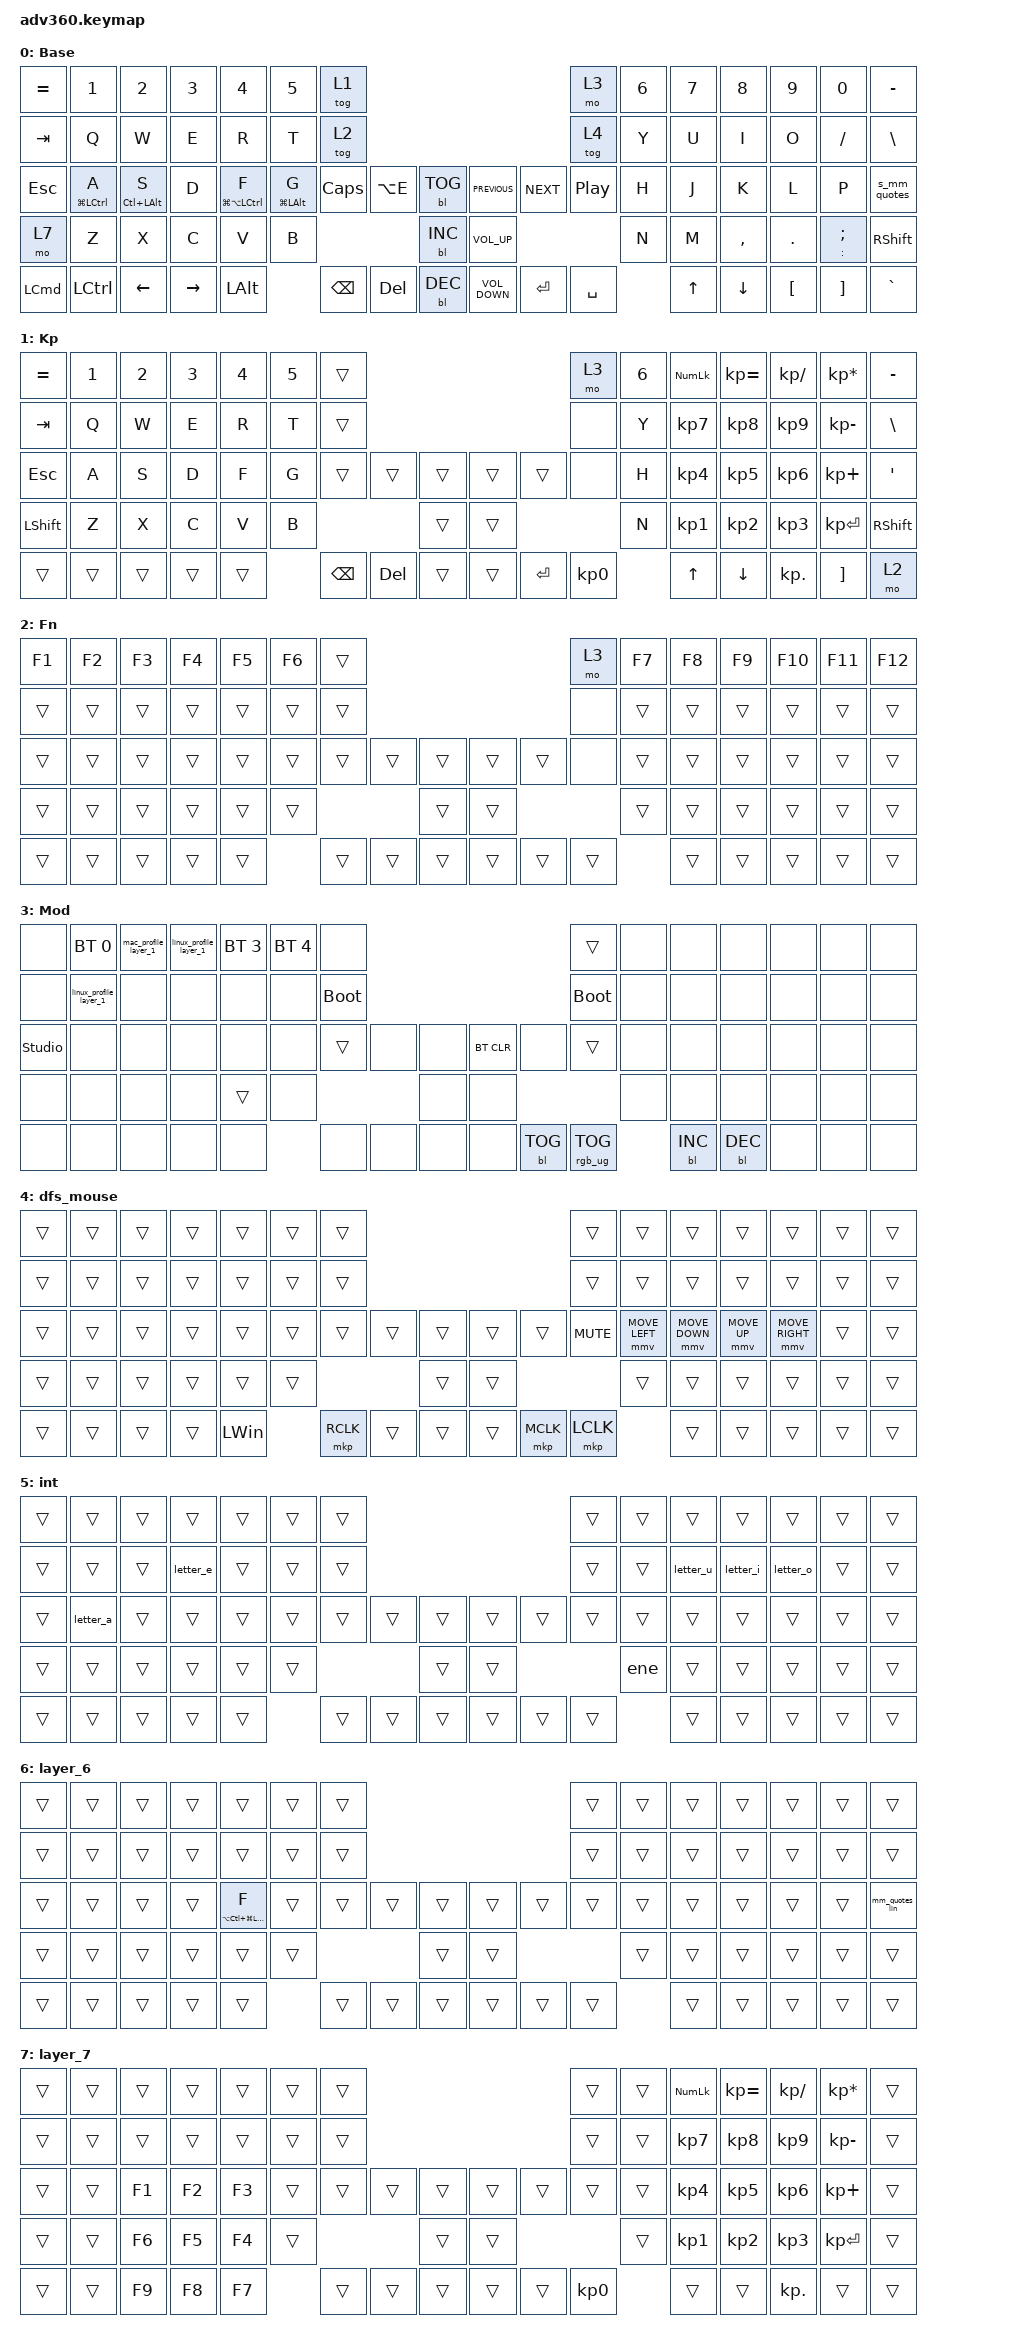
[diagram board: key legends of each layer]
#include <dt-bindings/zmk/stp.h>
#include <behaviors.dtsi>
#include <dt-bindings/zmk/backlight.h>
#include <dt-bindings/zmk/bt.h>
#include <dt-bindings/zmk/keys.h>
#include <dt-bindings/zmk/pointing.h>
#include <dt-bindings/zmk/rgb.h>

/ {
    behaviors {
        #include "macros.dtsi"
      #include "version.dtsi"

        hm: homerow_mods {
            compatible = "zmk,behavior-hold-tap";
            label = "HOMEROW_MODS";
            #binding-cells = <2>;
            tapping-term-ms = <200>;
            quick_tap_ms = <175>;
            flavor = "tap-preferred";
            bindings = <&kp>, <&kp>;
        };

        to_ly: to_ly {
            compatible = "zmk,behavior-hold-tap";
            label = "TO_LY";
            bindings = <&mo>, <&kp>;

            #binding-cells = <2>;
            tapping-term-ms = <150>;
        };

        s_mm_quotes: s_mm_quotes {
            compatible = "zmk,behavior-mod-morph";
            label = "S_MM_QUOTES";
            bindings = <&to_ly 5 DOUBLE_QUOTES>, <&kp SQT>;

            #binding-cells = <0>;
            mods = <(MOD_LSFT|MOD_RSFT)>;
        };

        b_e_letter: b_e_letter {
            compatible = "zmk,behavior-mod-morph";
            label = "B_E_LETTER";
            bindings = <&kp E>, <&kp LS(E)>;

            #binding-cells = <0>;
            mods = <(MOD_LSFT|MOD_RSFT)>;
        };

        b_a_letter: b_a_letter {
            compatible = "zmk,behavior-mod-morph";
            label = "B_A_LETTER";
            bindings = <&kp A>, <&kp LS(A)>;

            #binding-cells = <0>;
            mods = <(MOD_LSFT|MOD_RSFT)>;
        };

        b_i_letter: b_i_letter {
            compatible = "zmk,behavior-mod-morph";
            label = "B_I_LETTER";
            bindings = <&kp I>, <&kp LS(I)>;

            #binding-cells = <0>;
            mods = <(MOD_LSFT|MOD_RSFT)>;
        };

        b_o_letter: b_o_letter {
            compatible = "zmk,behavior-mod-morph";
            label = "B_O_LETTER";
            bindings = <&kp O>, <&kp LS(O)>;

            #binding-cells = <0>;
            mods = <(MOD_LSFT|MOD_RSFT)>;
        };

        b_u_letter: b_u_letter {
            compatible = "zmk,behavior-mod-morph";
            label = "B_U_LETTER";
            bindings = <&kp U>, <&kp LS(U)>;

            #binding-cells = <0>;
            mods = <(MOD_LSFT|MOD_RSFT)>;
        };

        mm_quotes_lin: mm_quotes_lin {
            compatible = "zmk,behavior-mod-morph";
            label = "MM_QUOTES_LIN";
            bindings = <&mt RIGHT_ALT DOUBLE_QUOTES>, <&kp SQT>;

            #binding-cells = <0>;
            mods = <(MOD_LSFT|MOD_RSFT)>;
        };
    };

    combos { compatible = "zmk,combos"; };

    macros {
        ene: ene {
            compatible = "zmk,behavior-macro";
            #binding-cells = <0>;
            bindings =
                <&macro_press>,
                <&kp LA(N)>,
                <&macro_tap>,
                <&kp N>,
                <&macro_release>;

            label = "ENE";
        };

        letter_i: letter_i {
            compatible = "zmk,behavior-macro";
            #binding-cells = <0>;
            bindings =
                <&macro_press>,
                <&kp LA(E)>,
                <&macro_tap>,
                <&b_i_letter>,
                <&macro_release>;

            label = "LETTER_I";
        };

        letter_a: letter_a {
            compatible = "zmk,behavior-macro";
            #binding-cells = <0>;
            bindings =
                <&macro_press>,
                <&kp LA(E)>,
                <&macro_tap>,
                <&b_a_letter>,
                <&macro_release>;

            label = "LETTER_A";
        };

        letter_e: letter_e {
            compatible = "zmk,behavior-macro";
            #binding-cells = <0>;
            bindings =
                <&macro_press>,
                <&kp LA(E)>,
                <&macro_tap>,
                <&b_e_letter>,
                <&macro_release>;

            label = "LETTER_E";
        };

        letter_o: letter_o {
            compatible = "zmk,behavior-macro";
            #binding-cells = <0>;
            bindings =
                <&macro_press>,
                <&kp LA(E)>,
                <&macro_tap>,
                <&b_o_letter>,
                <&macro_release>;

            label = "LETTER_O";
        };

        letter_u: letter_u {
            compatible = "zmk,behavior-macro";
            #binding-cells = <0>;
            bindings =
                <&macro_press>,
                <&kp LA(E)>,
                <&macro_tap>,
                <&b_u_letter>,
                <&macro_release>;

            label = "LETTER_U";
        };

        apost: apost {
            compatible = "zmk,behavior-macro";
            #binding-cells = <0>;
            bindings =
                <&macro_press>,
                <&kp SQT>,
                <&macro_tap>,
                <&kp U>,
                <&macro_release>;

            label = "APOST";
        };

        linux_profile_layer_1: linux_profile_layer_1 {
            compatible = "zmk,behavior-macro";
            #binding-cells = <0>;
            bindings =
                <&macro_press>,
                <&bt BT_SEL 2>,
                <&macro_tap>,
                <&to 6>,
                <&macro_release>;

            label = "LINUX_PROFILE_LAYER_1";
        };

        mac_profile_layer_1: mac_profile_layer_1 {
            compatible = "zmk,behavior-macro";
            #binding-cells = <0>;
            bindings =
                <&macro_press>,
                <&bt BT_SEL 1>,
                <&macro_tap>,
                <&to 0>,
                <&macro_release>;

            label = "MAC_PROFILE_LAYER_1";
        };
    };

    keymap {
        compatible = "zmk,keymap";

        default_layer {
            display-name = "Base";
            bindings = <
&kp EQUAL         &kp N1           &kp N2              &kp N3     &kp N4                      &kp N5              &tog 1                                                                  &mo 3             &kp N6  &kp N7  &kp N8     &kp N9    &kp N0          &kp MINUS
&kp TAB           &kp Q            &kp W               &kp E      &kp R                       &kp T               &tog 2                                                                  &tog 4            &kp Y   &kp U   &kp I      &kp O     &kp FSLH        &kp BSLH
&kp ESC           &hm LG(LCTRL) A  &hm LC(LEFT_ALT) S  &kp D      &hm LG(LA(LEFT_CONTROL)) F  &hm LG(LEFT_ALT) G  &kp CAPSLOCK  &kp LA(E)  &bl BL_TOG      &kp C_PREVIOUS     &kp C_NEXT  &kp C_PLAY_PAUSE  &kp H   &kp J   &kp K      &kp L     &kp P           &s_mm_quotes
&mo 7             &kp Z            &kp X               &kp C      &kp V                       &kp B                                        &bl BL_INC      &kp C_VOLUME_UP                                  &kp N   &kp M   &kp COMMA  &kp DOT   &hm COLON SEMI  &kp RSHFT
&kp LEFT_COMMAND  &kp LCTRL        &kp LEFT_ARROW      &kp RIGHT  &kp LEFT_ALT                                    &kp BSPC      &kp DEL    &bl BL_DEC      &kp C_VOLUME_DOWN  &kp ENTER   &kp SPACE                 &kp UP  &kp DOWN   &kp LBKT  &kp RBKT        &kp GRAVE
            >;
        };

        keypad {
            display-name = "Kp";
            bindings = <
&kp EQUAL  &kp N1  &kp N2  &kp N3  &kp N4  &kp N5  &trans                                            &mo 3      &kp N6  &kp KP_NUM  &kp KP_EQUAL  &kp KP_DIVIDE  &kp KP_MULTIPLY  &kp MINUS
&kp TAB    &kp Q   &kp W   &kp E   &kp R   &kp T   &trans                                            &none      &kp Y   &kp KP_N7   &kp KP_N8     &kp KP_N9      &kp KP_MINUS     &kp BSLH
&kp ESC    &kp A   &kp S   &kp D   &kp F   &kp G   &trans    &trans   &trans      &trans  &trans     &none      &kp H   &kp KP_N4   &kp KP_N5     &kp KP_N6      &kp KP_PLUS      &kp SQT
&kp LSHFT  &kp Z   &kp X   &kp C   &kp V   &kp B                      &trans      &trans                        &kp N   &kp KP_N1   &kp KP_N2     &kp KP_N3      &kp KP_ENTER     &kp RSHFT
&trans     &trans  &trans  &trans  &trans          &kp BSPC  &kp DEL  &trans      &trans  &kp ENTER  &kp KP_N0          &kp UP      &kp DOWN      &kp KP_DOT     &kp RBKT         &mo 2
            >;
        };

        fn {
            display-name = "Fn";
            bindings = <
&kp F1  &kp F2  &kp F3  &kp F4  &kp F5  &kp F6  &trans                                      &mo 3   &kp F7  &kp F8  &kp F9  &kp F10  &kp F11  &kp F12
&trans  &trans  &trans  &trans  &trans  &trans  &trans                                      &none   &trans  &trans  &trans  &trans   &trans   &trans
&trans  &trans  &trans  &trans  &trans  &trans  &trans  &trans  &trans      &trans  &trans  &none   &trans  &trans  &trans  &trans   &trans   &trans
&trans  &trans  &trans  &trans  &trans  &trans                  &trans      &trans                  &trans  &trans  &trans  &trans   &trans   &trans
&trans  &trans  &trans  &trans  &trans          &trans  &trans  &trans      &trans  &trans  &trans          &trans  &trans  &trans   &trans   &trans
            >;
        };

        mod {
            display-name = "Mod";
            bindings = <
&none           &bt BT_SEL 0            &mac_profile_layer_1  &linux_profile_layer_1  &bt BT_SEL 3  &bt BT_SEL 4  &none                                                  &trans           &none  &none       &none       &none  &none  &none
&none           &linux_profile_layer_1  &none                 &none                   &none         &none         &bootloader                                            &bootloader      &none  &none       &none       &none  &none  &none
&studio_unlock  &none                   &none                 &none                   &none         &none         &trans       &none  &none      &bt BT_CLR  &none       &trans           &none  &none       &none       &none  &none  &none
&none           &none                   &none                 &none                   &trans        &none                             &none      &none                                    &none  &none       &none       &none  &none  &none
&none           &none                   &none                 &none                   &none                       &none        &none  &none      &none       &bl BL_TOG  &rgb_ug RGB_TOG         &bl BL_INC  &bl BL_DEC  &none  &none  &none
            >;
        };

        dfs_mouse {
            bindings = <
&trans  &trans  &trans  &trans  &trans        &trans  &trans                                            &trans      &trans          &trans          &trans        &trans           &trans  &trans
&trans  &trans  &trans  &trans  &trans        &trans  &trans                                            &trans      &trans          &trans          &trans        &trans           &trans  &trans
&trans  &trans  &trans  &trans  &trans        &trans  &trans     &trans  &trans      &trans  &trans     &kp C_MUTE  &mmv MOVE_LEFT  &mmv MOVE_DOWN  &mmv MOVE_UP  &mmv MOVE_RIGHT  &trans  &trans
&trans  &trans  &trans  &trans  &trans        &trans                     &trans      &trans                         &trans          &trans          &trans        &trans           &trans  &trans
&trans  &trans  &trans  &trans  &kp LEFT_WIN          &mkp RCLK  &trans  &trans      &trans  &mkp MCLK  &mkp LCLK                   &trans          &trans        &trans           &trans  &trans
            >;
        };

        int {
            bindings = <
&trans  &trans     &trans  &trans     &trans  &trans  &trans                                      &trans  &trans  &trans     &trans     &trans     &trans  &trans
&trans  &trans     &trans  &letter_e  &trans  &trans  &trans                                      &trans  &trans  &letter_u  &letter_i  &letter_o  &trans  &trans
&trans  &letter_a  &trans  &trans     &trans  &trans  &trans  &trans  &trans      &trans  &trans  &trans  &trans  &trans     &trans     &trans     &trans  &trans
&trans  &trans     &trans  &trans     &trans  &trans                  &trans      &trans                  &ene    &trans     &trans     &trans     &trans  &trans
&trans  &trans     &trans  &trans     &trans          &trans  &trans  &trans      &trans  &trans  &trans          &trans     &trans     &trans     &trans  &trans
            >;
        };

        layer_6 {
            bindings = <
&trans  &trans  &trans  &trans  &trans                        &trans  &trans                                      &trans  &trans  &trans  &trans  &trans  &trans  &trans
&trans  &trans  &trans  &trans  &trans                        &trans  &trans                                      &trans  &trans  &trans  &trans  &trans  &trans  &trans
&trans  &trans  &trans  &trans  &hm LA(LC(LG(LEFT_SHIFT))) F  &trans  &trans  &trans  &trans      &trans  &trans  &trans  &trans  &trans  &trans  &trans  &trans  &mm_quotes_lin
&trans  &trans  &trans  &trans  &trans                        &trans                  &trans      &trans                  &trans  &trans  &trans  &trans  &trans  &trans
&trans  &trans  &trans  &trans  &trans                                &trans  &trans  &trans      &trans  &trans  &trans          &trans  &trans  &trans  &trans  &trans
            >;
        };

        layer_7 {
            bindings = <
&trans  &trans  &trans  &trans  &trans  &trans  &trans                                      &trans     &trans  &kp KP_NUM       &kp KP_EQUAL  &kp KP_SLASH  &kp KP_MULTIPLY  &trans
&trans  &trans  &trans  &trans  &trans  &trans  &trans                                      &trans     &trans  &kp KP_N7        &kp KP_N8     &kp KP_N9     &kp KP_MINUS     &trans
&trans  &trans  &kp F1  &kp F2  &kp F3  &trans  &trans  &trans  &trans      &trans  &trans  &trans     &trans  &kp KP_NUMBER_4  &kp KP_N5     &kp KP_N6     &kp KP_PLUS      &trans
&trans  &trans  &kp F6  &kp F5  &kp F4  &trans                  &trans      &trans                     &trans  &kp KP_N1        &kp KP_N2     &kp KP_N3     &kp KP_ENTER     &trans
&trans  &trans  &kp F9  &kp F8  &kp F7          &trans  &trans  &trans      &trans  &trans  &kp KP_N0          &trans           &trans        &kp KP_DOT    &trans           &trans
            >;
        };
    };
};
